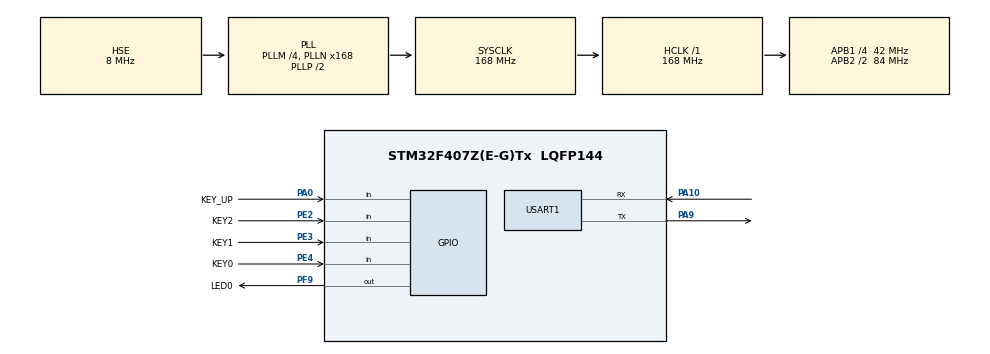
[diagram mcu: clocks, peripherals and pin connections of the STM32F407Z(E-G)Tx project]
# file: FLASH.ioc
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Mcu.Family=STM32F4
Mcu.Name=STM32F407Z(E-G)Tx
Mcu.Package=LQFP144
NVIC.PriorityGroup=NVIC_PRIORITYGROUP_4
PA0-WKUP.GPIO_Label=KEY_UP
PA0-WKUP.GPIO_PuPd=GPIO_PULLDOWN
PA0-WKUP.Signal=GPIO_Input
PA10.Mode=Asynchronous
PA10.Signal=USART1_RX
PA9.Mode=Asynchronous
PA9.Signal=USART1_TX
PC14-OSC32_IN.Mode=LSE-External-Oscillator
PC14-OSC32_IN.Signal=RCC_OSC32_IN
PC15-OSC32_OUT.Mode=LSE-External-Oscillator
PC15-OSC32_OUT.Signal=RCC_OSC32_OUT
PE2.GPIO_Label=KEY2
PE2.GPIO_PuPd=GPIO_PULLUP
PE2.Signal=GPIO_Input
PE3.GPIO_Label=KEY1
PE3.GPIO_PuPd=GPIO_PULLUP
PE3.Signal=GPIO_Input
PE4.GPIO_Label=KEY0
PE4.GPIO_PuPd=GPIO_PULLUP
PE4.Signal=GPIO_Input
PF9.GPIO_Label=LED0
PF9.Signal=GPIO_Output
PH0-OSC_IN.Mode=HSE-External-Oscillator
PH0-OSC_IN.Signal=RCC_OSC_IN
PH1-OSC_OUT.Mode=HSE-External-Oscillator
PH1-OSC_OUT.Signal=RCC_OSC_OUT
ProjectManager.HeapSize=0x200
ProjectManager.StackSize=0x400
ProjectManager.TargetToolchain=MDK-ARM V5
RCC.48MHZClocksFreq_Value=84000000
RCC.AHBFreq_Value=168000000
RCC.APB1CLKDivider=RCC_HCLK_DIV4
RCC.APB1Freq_Value=42000000
RCC.APB1TimFreq_Value=84000000
RCC.APB2CLKDivider=RCC_HCLK_DIV2
RCC.APB2Freq_Value=84000000
RCC.APB2TimFreq_Value=168000000
RCC.CortexFreq_Value=168000000
RCC.HCLKFreq_Value=168000000
RCC.HSE_VALUE=8000000
RCC.HSI_VALUE=16000000
RCC.PLLM=4
RCC.PLLN=168
RCC.PLLSourceVirtual=RCC_PLLSOURCE_HSE
RCC.SYSCLKFreq_VALUE=168000000
RCC.SYSCLKSource=RCC_SYSCLKSOURCE_PLLCLK
RCC.VCOOutputFreq_Value=336000000
USART1.VirtualMode=VM_ASYNC
board=custom

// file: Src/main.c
/* USER CODE BEGIN Header */
/**
  ******************************************************************************
  * @file           : main.c
  * @brief          : Main program body
  ******************************************************************************
  * @attention
  *
  * <h2><center>&copy; Copyright (c) 2020 STMicroelectronics.
  * All rights reserved.</center></h2>
  *
  * This software component is licensed by ST under BSD 3-Clause license,
  * the "License"; You may not use this file except in compliance with the
  * License. You may obtain a copy of the License at:
  *                        opensource.org/licenses/BSD-3-Clause
  *
  ******************************************************************************
  */
/* USER CODE END Header */

#include "main.h"
#include "usart.h"
#include "gpio.h"

/* USER CODE BEGIN Includes */
#include "key.h"
#include "stmflash.h"
/* USER CODE END Includes */

void SystemClock_Config(void);

/* USER CODE BEGIN 0 */
//要写入到STM32 FLASH的字符串数组
const u8 TEXT_Buffer[]={"STM32 FLASH TEST"};
#define TEXT_LENTH sizeof(TEXT_Buffer)	 		  	//数组长度
#define SIZE TEXT_LENTH/4+((TEXT_LENTH%4)?1:0)

#define FLASH_SAVE_ADDR  0X0800C004 	//设置FLASH 保存地址(必须为偶数，且所在扇区,要大于本代码所占用到的扇区.
										//否则,写操作的时候,可能会导致擦除整个扇区,从而引起部分程序丢失.引起死机.

/* USER CODE END 0 */

int main(void)
{
  /* USER CODE BEGIN 1 */
	u8 key=0;
	u16 i=0;
	u8 datatemp[TEXT_LENTH];
  /* USER CODE END 1 */

  /* MCU Configuration--------------------------------------------------------*/

  /* Reset of all peripherals, Initializes the Flash interface and the Systick. */
  HAL_Init();

  /* Configure the system clock */
  SystemClock_Config();

  /* Initialize all configured peripherals */
  MX_GPIO_Init();
  MX_USART1_UART_Init();

  /* Infinite loop */
  while (1)
  {

    /* USER CODE BEGIN 3 */
		key=KEY_Scan(0);
		if(key==KEY1_PRES)//KEY1按下,写入W25Q128
		{
       STMFLASH_Write(FLASH_SAVE_ADDR,(u32*)TEXT_Buffer,SIZE);
			 printf("write \r\n");
		}
		if(key==KEY0_PRES)//KEY0按下,读取字符串并显示
		{
       STMFLASH_Read(FLASH_SAVE_ADDR,(u32*)datatemp,SIZE);
			 printf("read \r\n");
	     HAL_UART_Transmit(&huart1 , datatemp, TEXT_LENTH, 0xFFFF);
			 printf("%s\r\n",datatemp);//插入换行
		}
		i++;
		HAL_Delay(10);
		if(i==20)
		{
			HAL_GPIO_TogglePin(LED0_GPIO_Port,LED0_Pin);//提示系统正在运行
			i=0;
		}
  }
  /* USER CODE END 3 */
}

void SystemClock_Config(void)
{
  RCC_OscInitTypeDef RCC_OscInitStruct = {0};
  RCC_ClkInitTypeDef RCC_ClkInitStruct = {0};

  /** Configure the main internal regulator output voltage
  */
  __HAL_RCC_PWR_CLK_ENABLE();
  __HAL_PWR_VOLTAGESCALING_CONFIG(PWR_REGULATOR_VOLTAGE_SCALE1);
  /** Initializes the CPU, AHB and APB busses clocks
  */
  RCC_OscInitStruct.OscillatorType = RCC_OSCILLATORTYPE_HSE;
  RCC_OscInitStruct.HSEState = RCC_HSE_ON;
  RCC_OscInitStruct.PLL.PLLState = RCC_PLL_ON;
  RCC_OscInitStruct.PLL.PLLSource = RCC_PLLSOURCE_HSE;
  RCC_OscInitStruct.PLL.PLLM = 4;
  RCC_OscInitStruct.PLL.PLLN = 168;
  RCC_OscInitStruct.PLL.PLLP = RCC_PLLP_DIV2;
  RCC_OscInitStruct.PLL.PLLQ = 4;
  if (HAL_RCC_OscConfig(&RCC_OscInitStruct) != HAL_OK)
  {
    Error_Handler();
  }
  /** Initializes the CPU, AHB and APB busses clocks
  */
  RCC_ClkInitStruct.ClockType = RCC_CLOCKTYPE_HCLK|RCC_CLOCKTYPE_SYSCLK
                              |RCC_CLOCKTYPE_PCLK1|RCC_CLOCKTYPE_PCLK2;
  RCC_ClkInitStruct.SYSCLKSource = RCC_SYSCLKSOURCE_PLLCLK;
  RCC_ClkInitStruct.AHBCLKDivider = RCC_SYSCLK_DIV1;
  RCC_ClkInitStruct.APB1CLKDivider = RCC_HCLK_DIV4;
  RCC_ClkInitStruct.APB2CLKDivider = RCC_HCLK_DIV2;

  if (HAL_RCC_ClockConfig(&RCC_ClkInitStruct, FLASH_LATENCY_5) != HAL_OK)
  {
    Error_Handler();
  }
}

void Error_Handler(void)
{
}

/************************ (C) COPYRIGHT STMicroelectronics *****END OF FILE****/
